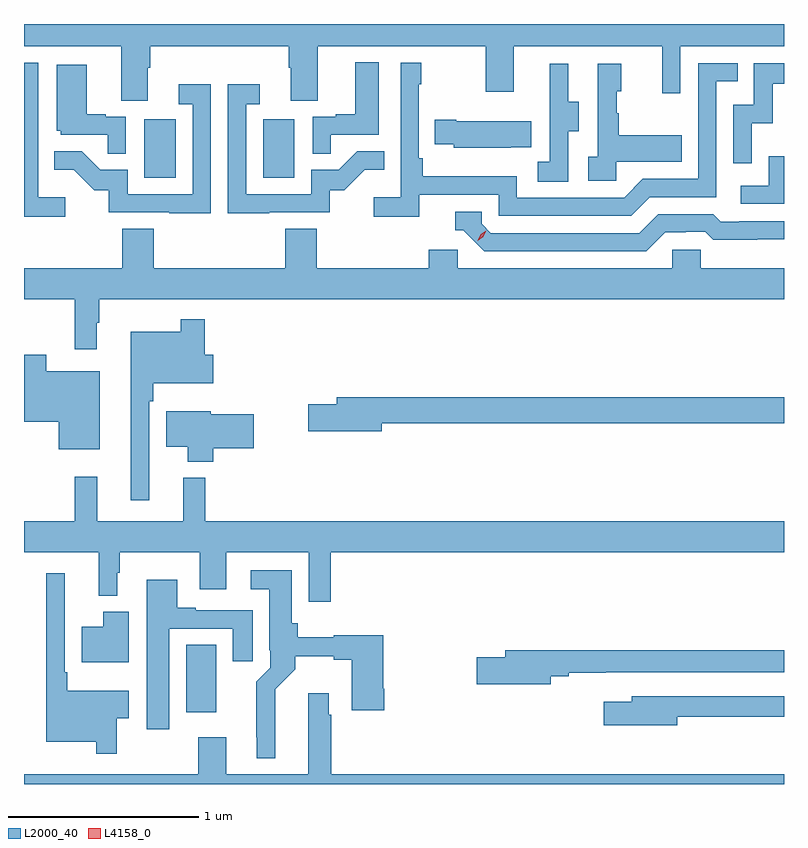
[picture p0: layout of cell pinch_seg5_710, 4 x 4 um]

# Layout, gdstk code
import gdstk
lib = gdstk.Library(unit=1e-6, precision=1e-09)
def R(c, l, rs):  # rectangles x0, y0, x1, y1
    for r in rs: c.add(gdstk.rectangle(r[:2], r[2:], *l))
def P(c, l, *ps):  # polygons
    for p in ps: c.add(gdstk.Polygon(p, *l))
L2000_40 = (2000, 40)
L4158_0 = (4158, 0)

pinch_seg5_710 = lib.new_cell('pinch_seg5_710')
R(pinch_seg5_710, L2000_40, [(1083.329,837.27,1083.487,837.626), (1083.11,840.084,1083.274,840.391), (1083.734,840.084,1083.898,840.391)])
P(pinch_seg5_710, L2000_40, [(1083.127,840.664),(1083.14,840.664),(1083.14,840.776),(1083.869,840.776),(1083.869,840.664),(1083.881,840.664),(1083.881,840.49),(1084.021,840.49),(1084.021,840.776),(1084.906,840.776),(1084.906,840.537),(1085.053,840.537),(1085.053,840.776),(1085.834,840.776),(1085.834,840.528),(1085.931,840.528),(1085.931,840.776),(1086.476,840.776),(1086.476,840.893),(1082.476,840.893),(1082.476,840.776),(1082.987,840.776),(1082.987,840.49),(1083.127,840.49)],
  [(1084.091,840.309),(1084.342,840.309),(1084.342,840.691),(1084.22,840.691),(1084.22,840.418),(1084.117,840.418),(1084.117,840.405),(1083.996,840.405),(1083.996,840.211),(1084.091,840.211)],
  [(1084.556,839.994),(1084.974,839.994),(1084.974,839.883),(1085.671,839.883),(1085.77,839.982),(1086.12,839.982),(1086.12,840.591),(1086.233,840.591),(1086.233,840.687),(1086.024,840.687),(1086.024,840.078),(1085.733,840.078),(1085.634,839.979),(1085.07,839.979),(1085.07,840.091),(1084.574,840.091),(1084.574,840.187),(1084.554,840.187),(1084.554,840.575),(1084.567,840.575),(1084.567,840.688),(1084.458,840.688),(1084.458,839.98),(1084.317,839.98),(1084.317,839.878),(1084.556,839.878)],
  [(1082.692,839.98),(1082.55,839.98),(1082.55,840.688),(1082.476,840.688),(1082.476,839.878),(1082.692,839.878)],
  [(1086.306,840.371),(1086.416,840.371),(1086.416,840.579),(1086.476,840.579),(1086.476,840.687),(1086.318,840.687),(1086.318,840.468),(1086.21,840.468),(1086.21,840.159),(1086.306,840.159)],
  [(1085.34,840.328),(1085.395,840.328),(1085.395,840.483),(1085.341,840.483),(1085.341,840.685),(1085.243,840.685),(1085.243,840.471),(1085.244,840.471),(1085.244,840.167),(1085.181,840.167),(1085.181,840.064),(1085.34,840.064)],
  [(1085.592,840.167),(1085.939,840.167),(1085.939,840.307),(1085.605,840.307),(1085.605,840.422),(1085.595,840.422),(1085.595,840.54),(1085.62,840.54),(1085.62,840.685),(1085.496,840.685),(1085.496,840.194),(1085.445,840.194),(1085.445,840.069),(1085.592,840.069)],
  [(1083.012,840.405),(1082.906,840.405),(1082.906,840.418),(1082.806,840.418),(1082.806,840.679),(1082.648,840.679),(1082.648,840.33),(1082.67,840.33),(1082.67,840.309),(1082.917,840.309),(1082.917,840.211),(1083.012,840.211)],
  [(1083.459,840.577),(1083.291,840.577),(1083.291,840.471),(1083.363,840.471),(1083.363,839.997),(1083.021,839.997),(1083.021,840.126),(1082.877,840.126),(1082.779,840.224),(1082.635,840.224),(1082.635,840.125),(1082.739,840.125),(1082.846,840.018),(1082.923,840.018),(1082.923,839.901),(1083.241,839.901),(1083.241,839.896),(1083.459,839.896)],
  [(1083.767,839.901),(1084.086,839.901),(1084.086,840.018),(1084.162,840.018),(1084.269,840.125),(1084.373,840.125),(1084.373,840.224),(1084.23,840.224),(1084.132,840.126),(1083.987,840.126),(1083.987,839.997),(1083.645,839.997),(1083.645,840.471),(1083.718,840.471),(1083.718,840.577),(1083.549,840.577),(1083.549,839.896),(1083.767,839.896)],
  [(1085.039,840.245),(1085.147,840.245),(1085.147,840.382),(1084.75,840.382),(1084.75,840.39),(1084.639,840.39),(1084.639,840.26),(1084.737,840.26),(1084.737,840.242),(1085.039,840.242)],
  [(1086.476,840.196),(1086.396,840.196),(1086.396,840.042),(1086.249,840.042),(1086.249,839.946),(1086.476,839.946)],
  [(1085.851,839.796),(1085.958,839.796),(1085.958,839.799),(1086.061,839.799),(1086.103,839.757),(1086.336,839.757),(1086.336,839.759),(1086.476,839.759),(1086.476,839.856),(1086.241,839.856),(1086.241,839.853),(1086.142,839.853),(1086.103,839.892),(1085.814,839.892),(1085.715,839.793),(1084.932,839.793),(1084.884,839.841),(1084.884,839.904),(1084.745,839.904),(1084.745,839.808),(1084.788,839.808),(1084.899,839.697),(1085.752,839.697)],
  [(1082.86,839.321),(1082.872,839.321),(1082.872,839.444),(1086.476,839.444),(1086.476,839.608),(1086.039,839.608),(1086.039,839.706),(1085.889,839.706),(1085.889,839.608),(1084.758,839.608),(1084.758,839.706),(1084.607,839.706),(1084.607,839.608),(1084.016,839.608),(1084.016,839.816),(1083.851,839.816),(1083.851,839.608),(1083.158,839.608),(1083.158,839.816),(1082.993,839.816),(1082.993,839.608),(1082.476,839.608),(1082.476,839.444),(1082.743,839.444),(1082.743,839.181),(1082.86,839.181)],
  [(1083.135,838.907),(1083.155,838.907),(1083.155,839.003),(1083.472,839.003),(1083.472,839.151),(1083.428,839.151),(1083.428,839.338),(1083.3,839.338),(1083.3,839.272),(1083.038,839.272),(1083.038,838.386),(1083.135,838.386)],
  [(1082.875,839.065),(1082.592,839.065),(1082.592,839.152),(1082.476,839.152),(1082.476,838.799),(1082.66,838.799),(1082.66,838.655),(1082.875,838.655)],
  [(1084.36,838.792),(1086.476,838.792),(1086.476,838.928),(1084.121,838.928),(1084.121,838.892),(1083.972,838.892),(1083.972,838.75),(1084.36,838.75)],
  [(1083.473,838.66),(1083.685,838.66),(1083.685,838.838),(1083.46,838.838),(1083.46,838.855),(1083.224,838.855),(1083.224,838.667),(1083.338,838.667),(1083.338,838.589),(1083.473,838.589)],
  [(1084.091,838.112),(1086.476,838.112),(1086.476,838.276),(1083.431,838.276),(1083.431,838.504),(1083.314,838.504),(1083.314,838.276),(1082.861,838.276),(1082.861,838.51),(1082.743,838.51),(1082.743,838.276),(1082.476,838.276),(1082.476,838.112),(1082.87,838.112),(1082.87,837.884),(1082.968,837.884),(1082.968,838.005),(1082.98,838.005),(1082.98,838.112),(1083.401,838.112),(1083.401,837.918),(1083.541,837.918),(1083.541,838.112),(1083.975,838.112),(1083.975,837.852),(1084.091,837.852)],
  [(1083.799,837.392),(1083.904,837.498),(1083.904,837.566),(1084.106,837.566),(1084.106,837.547),(1084.202,837.547),(1084.202,837.282),(1084.373,837.282),(1084.373,837.394),(1084.368,837.394),(1084.368,837.676),(1084.106,837.676),(1084.106,837.665),(1083.917,837.665),(1083.917,837.738),(1083.886,837.738),(1083.886,838.018),(1083.669,838.018),(1083.669,837.917),(1083.767,837.917),(1083.767,837.598),(1083.771,837.598),(1083.771,837.504),(1083.698,837.431),(1083.698,837.139),(1083.701,837.139),(1083.701,837.029),(1083.799,837.029)],
  [(1082.965,837.238),(1083.028,837.238),(1083.028,837.385),(1082.704,837.385),(1082.704,837.481),(1082.691,837.481),(1082.691,838.003),(1082.594,838.003),(1082.594,837.116),(1082.856,837.116),(1082.856,837.051),(1082.965,837.051)],
  [(1083.241,837.711),(1083.575,837.711),(1083.575,837.54),(1083.679,837.54),(1083.679,837.807),(1083.379,837.807),(1083.379,837.82),(1083.283,837.82),(1083.283,837.967),(1083.122,837.967),(1083.122,837.18),(1083.241,837.18)],
  [(1083.028,837.799),(1082.894,837.799),(1082.894,837.721),(1082.78,837.721),(1082.78,837.533),(1083.028,837.533)],
  [(1085.248,837.46),(1085.344,837.46),(1085.344,837.479),(1085.538,837.479),(1085.538,837.48),(1086.476,837.48),(1086.476,837.596),(1085.009,837.596),(1085.009,837.56),(1084.86,837.56),(1084.86,837.418),(1085.248,837.418)],
  [(1086.476,836.944),(1084.094,836.944),(1084.094,837.257),(1084.081,837.257),(1084.081,837.37),(1083.971,837.37),(1083.971,836.944),(1083.541,836.944),(1083.541,837.139),(1083.394,837.139),(1083.394,836.944),(1082.476,836.944),(1082.476,836.893),(1086.476,836.893)],
  [(1085.914,837.246),(1086.476,837.246),(1086.476,837.354),(1085.675,837.354),(1085.675,837.325),(1085.526,837.325),(1085.526,837.203),(1085.914,837.203)])
P(pinch_seg5_710, L4158_0, [(1084.863,839.753),(1084.863,839.754),(1084.879,839.786),(1084.909,839.805),(1084.91,839.805),(1084.91,839.805),(1084.894,839.773),(1084.863,839.753)])

lib.write_gds('pinch_seg5_710.gds')
